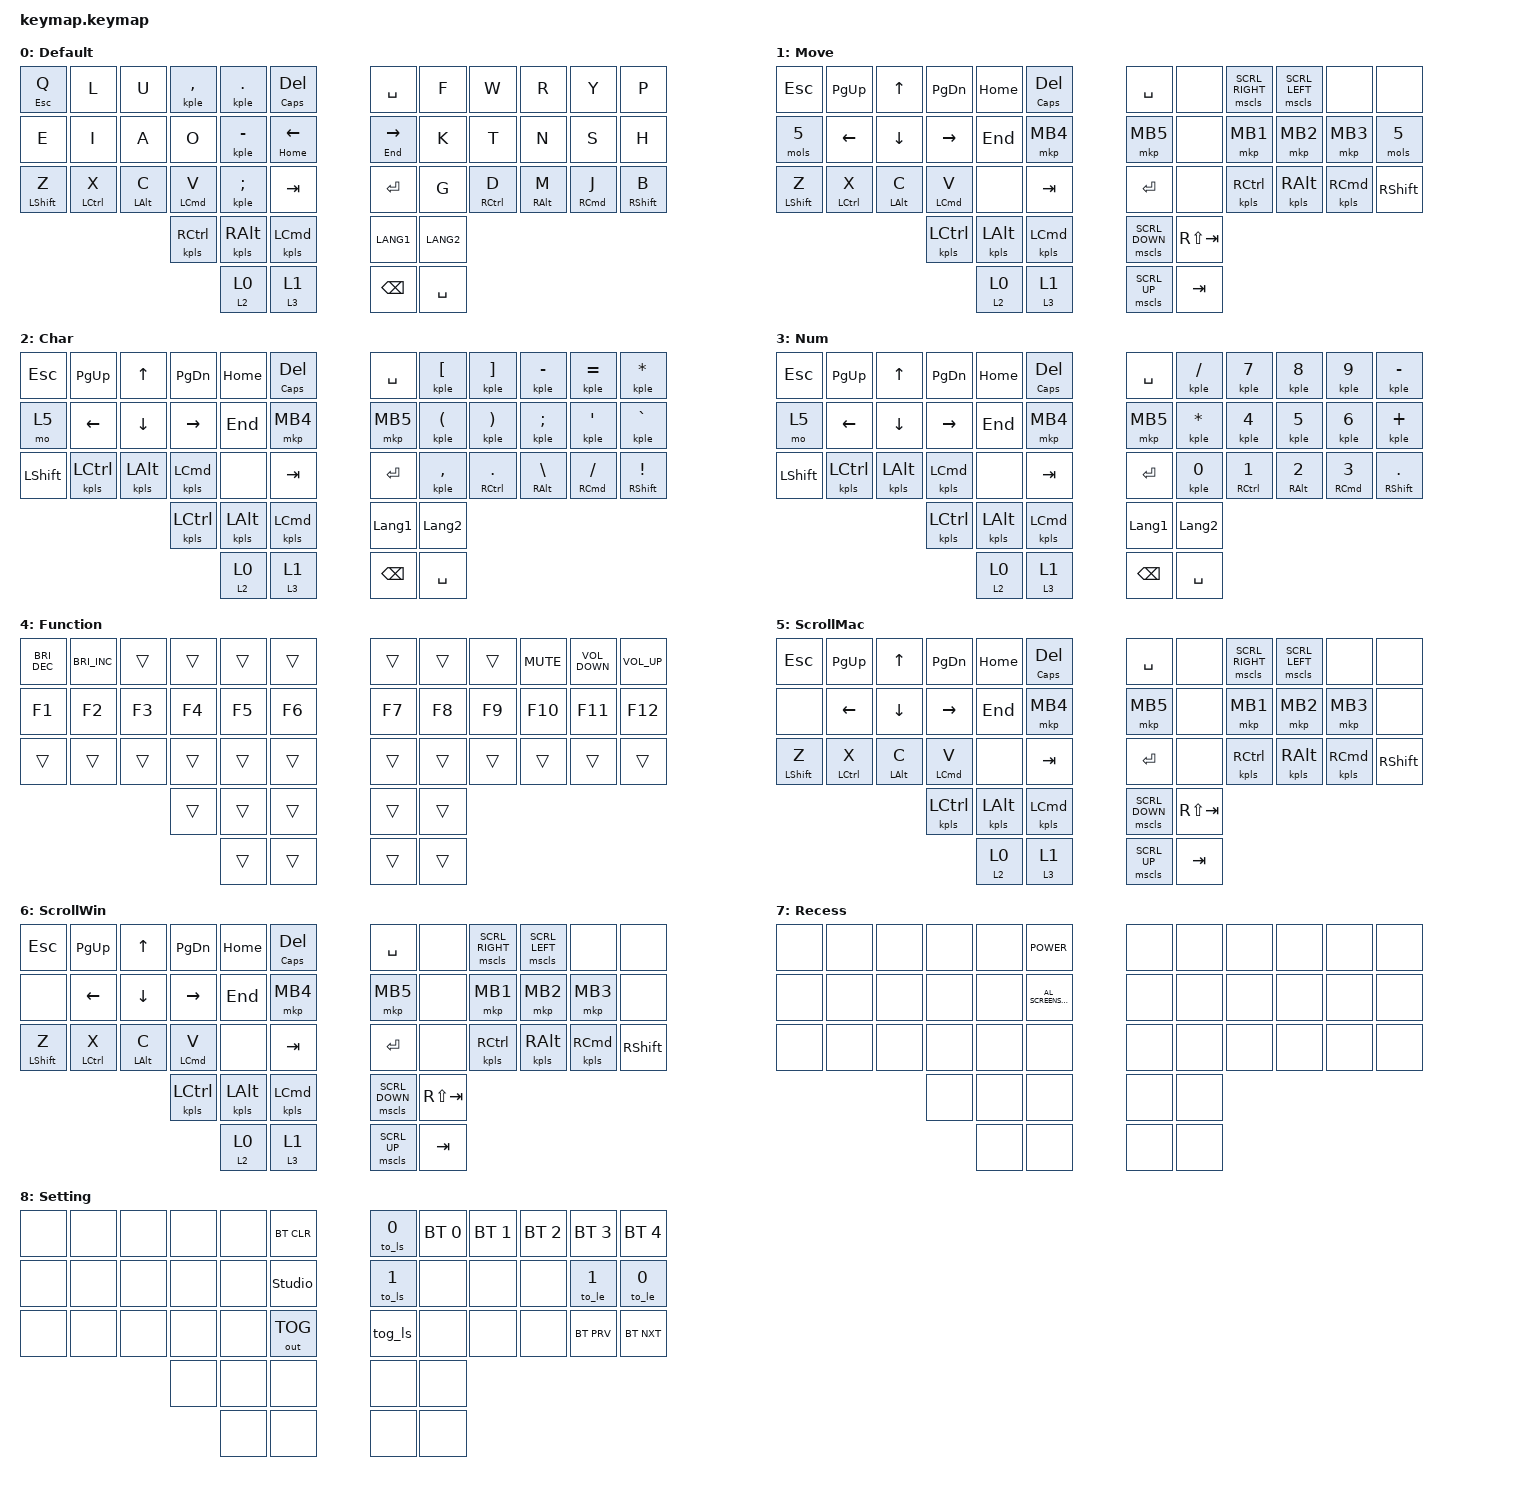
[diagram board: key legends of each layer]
#include <behaviors.dtsi>
#include <dt-bindings/zmk/bt.h>
#include <dt-bindings/zmk/keys.h>
#include <dt-bindings/zmk/outputs.h>
#include <dt-bindings/zmk/pointing.h>
#include "../dts/layout_shift.dtsi"
#include "../dts/layout_env.dtsi"

// ZMK用のキーマップ設定ファイル
// レイヤー構成（上から定義順 = レイヤー番号）:
// 0: Default     …… 通常のタイピング用
// 1: Move        …… カーソル移動・スクロール・マウス入力用
// 2: Char        …… 記号や括弧などの入力用
// 3: Num         …… 数字入力・テンキー配列
// 4: Function    …… ファンクションキー (F1〜F12)
// 5: ScrollMac   …… スクロール・トラックボール操作 (Mac用)
// 6: ScrollWin   …… スクロール・トラックボール操作 (Windows用)
// 7: Recess      …… すべてのレイヤーを無効化してデフォルトに戻す
// 8: Setting     …… Bluetooth選択/切替・出力切替・レイアウトシフト等の設定

/ {
    combos {
        compatible = "zmk,combos";
        combo-term-ms = <100>;

        // コンボ定義:
        // 特定のキーを同時押ししたときの動作を定義
        // 数字レイヤーをトグル
        // ファンクションレイヤーをトグル
        // Enterキー入力
        // Bluetooth設定レイヤーに一時移動

        moSettings {
            bindings = <&mo 8>;
            key-positions = <0 12 24>;
        };

        // すべてのレイヤーを無効化してデフォルトレイヤーに戻す

        moRecess {
            bindings = <&mo 7>;
            key-positions = <1 13 25>;
        };

        moFunction {
            bindings = <&mo 4>;
            key-positions = <42 44>;
        };
    };

    behaviors {
        multiMkp: multiMkp {
            compatible = "zmk,behavior-hold-tap";
            label = "MULTIMKP";
            bindings = <&mkp>, <&mkp>;

            #binding-cells = <2>;
            tapping-term-ms = <300>;
        };

        moto: moto {
            compatible = "zmk,behavior-hold-tap";
            label = "Hold mo Tap to";
            bindings = <&mo>, <&to>;

            #binding-cells = <2>;
            tapping-term-ms = <300>;
        };

        // mols_demo: placeholder for layout shift momentary layer behavior
        // mols_demo {
        //     bindings = <&mols 6>; // TODO: Replace 6 with base layer, shifted layer defined in layout
        // };
    };

    keymap {
        compatible = "zmk,keymap";

        // デフォルトレイヤー: 通常のタイピングに使用

        Default {
            bindings = <
&mt ESC Q     &kp L          &kp U         &kple COMMA     &kple PERIOD     &mt CAPSLOCK DELETE                 &kp SPACE            &kp F  &kp W          &kp R         &kp Y         &kp P
&kp E         &kp I          &kp A         &kp O         &kple MINUS      &mt HOME LEFT_ARROW                 &mt END RIGHT_ARROW  &kp K  &kp T          &kp N         &kp S         &kp H
&mt LSHIFT Z  &mtls LCTRL X  &mtls LALT C  &mtls LCMD V  &kple SEMICOLON  &kp TAB                             &kp ENTER            &kp G  &mtls RCTRL D  &mtls RALT M  &mtls RCMD J  &mt RSHIFT B
                                           &kpls RCTRL   &kpls RALT     &kpls LCMD                          &kp LANG1            &kp LANG2
                                                         &moto 2 0      &moto 3 1                           &kp BACKSPACE        &kp SPACE
            >;
        };

        Move {
            bindings = <
&kp ESCAPE        &kp PAGE_UP    &kp UP_ARROW    &kp PAGE_DOWN  &kp HOME    &mt CAPSLOCK DELETE                  &kp SPACE         &none  &mscls SCRL_RIGHT  &mscls SCRL_LEFT  &none       &none
&mols 5           &kp LEFT       &kp DOWN_ARROW  &kp RIGHT      &kp END     &mkp MB4                             &mkp MB5          &none  &mkp MB1           &mkp MB2          &mkp MB3    &mols 5
&mt LEFT_SHIFT Z  &mtls LCTRL X  &mtls LALT C    &mtls LCMD V   &none       &kp TAB                              &kp ENTER         &none  &kpls RCTRL        &kpls RALT        &kpls RCMD  &kp RSHIFT
                                                 &kpls LCTRL    &kpls LALT  &kpls LCMD                           &mscls SCRL_DOWN  &kp RS(TAB)
                                                                &moto 2 0   &moto 3 1                            &mscls SCRL_UP    &kp TAB
            >;
        };

        Char {
            bindings = <
&kp ESCAPE  &kp PAGE_UP  &kp UP_ARROW    &kp PAGE_DOWN  &kp HOME    &mt CAPSLOCK DELETE                  &kp SPACE       &kple LEFT_BRACKET      &kple RIGHT_BRACKET      &kple MINUS             &kple EQUAL         &kple ASTERISK
&mo 5       &kp LEFT     &kp DOWN_ARROW  &kp RIGHT      &kp END     &mkp MB4                             &mkp MB5        &kple LEFT_PARENTHESIS  &kple RIGHT_PARENTHESIS  &kple SEMICOLON         &kple SQT           &kple GRAVE
&kp LSHIFT  &kpls LCTRL  &kpls LALT      &kpls LCMD     &none       &kp TAB                              &kp ENTER       &kple COMMA             &mtlse RCTRL PERIOD     &mtlse RALT BACKSLASH  &mtlse RCMD SLASH  &mt RSHIFT EXCLAMATION
                                         &kpls LCTRL    &kpls LALT  &kpls LCMD                           &kp LANGUAGE_1  &kp LANGUAGE_2
                                                        &moto 2 0   &moto 3 1                            &kp BACKSPACE   &kp SPACE
            >;
        };

        Num {
            bindings = <
&kp ESC     &kp PAGE_UP     &kp UP_ARROW    &kp PAGE_DOWN    &kp HOME    &mtls CAPSLOCK DELETE                  &kp SPACE       &kple SLASH     &kple NUMBER_7          &kple NUMBER_8         &kple NUMBER_9         &kple MINUS
&mo 5       &kp LEFT_ARROW  &kp DOWN_ARROW  &kp RIGHT_ARROW  &kp END     &mkp MB4                               &mkp MB5        &kple ASTERISK  &kple NUMBER_4          &kple NUMBER_5         &kple NUMBER_6         &kple PLUS
&kp LSHIFT  &kpls LCTRL     &kpls LALT      &kpls LCMD       &none       &kp TAB                                &kp ENTER       &kple NUMBER_0  &mtlse RCTRL NUMBER_1  &mtlse RALT NUMBER_2  &mtlse RCMD NUMBER_3  &mt RSHIFT PERIOD
                                            &kpls LCTRL      &kpls LALT  &kpls LCMD                             &kp LANGUAGE_1  &kp LANGUAGE_2
                                                             &moto 2 0   &moto 3 1                              &kp BACKSPACE   &kp SPACE
            >;
        };

        Function {
            bindings = <
&kp C_BRIGHTNESS_DEC  &kp C_BRIGHTNESS_INC  &trans  &trans  &trans  &trans          &trans  &trans  &trans  &kp K_MUTE  &kp C_VOLUME_DOWN  &kp C_VOLUME_UP
&kp F1                &kp F2                &kp F3  &kp F4  &kp F5  &kp F6          &kp F7  &kp F8  &kp F9  &kp F10     &kp F11            &kp F12
&trans                &trans                &trans  &trans  &trans  &trans          &trans  &trans  &trans  &trans      &trans             &trans
                                                    &trans  &trans  &trans          &trans  &trans
                                                            &trans  &trans          &trans  &trans
            >;
        };

        ScrollMac {
            bindings = <
&kp ESCAPE        &kp PAGE_UP    &kp UP_ARROW    &kp PAGE_DOWN  &kp HOME    &mtls CAPSLOCK DELETE                  &kp SPACE    &none  &mscls SCRL_RIGHT  &mscls SCRL_LEFT  &none       &none
&none             &kp LEFT       &kp DOWN_ARROW  &kp RIGHT      &kp END     &mkp MB4                               &mkp MB5     &none  &mkp MB1         &mkp MB2        &mkp MB3    &none
&mt LEFT_SHIFT Z  &mtls LCTRL X  &mtls LALT C    &mtls LCMD V   &none       &kp TAB                                &kp ENTER    &none  &kpls RCTRL      &kpls RALT      &kpls RCMD  &kp RSHIFT
                                                 &kpls LCTRL    &kpls LALT  &kpls LCMD                             &mscls SCRL_DOWN  &kp RS(TAB)
                                                                &moto 2 0   &moto 3 1                              &mscls SCRL_UP    &kp TAB
            >;
        };

        ScrollWin {
            bindings = <
&kp ESCAPE        &kp PAGE_UP    &kp UP_ARROW    &kp PAGE_DOWN  &kp HOME    &mtls CAPSLOCK DELETE                  &kp SPACE    &none  &mscls SCRL_RIGHT  &mscls SCRL_LEFT  &none       &none
&none             &kp LEFT       &kp DOWN_ARROW  &kp RIGHT      &kp END     &mkp MB4                               &mkp MB5     &none  &mkp MB1         &mkp MB2        &mkp MB3    &none
&mt LEFT_SHIFT Z  &mtls LCTRL X  &mtls LALT C    &mtls LCMD V   &none       &kp TAB                                &kp ENTER    &none  &kpls RCTRL      &kpls RALT      &kpls RCMD  &kp RSHIFT
                                                 &kpls LCTRL    &kpls LALT  &kpls LCMD                             &mscls SCRL_DOWN  &kp RS(TAB)
                                                                &moto 2 0   &moto 3 1                              &mscls SCRL_UP    &kp TAB
            >;
        };

        Recess {
            bindings = <
&none  &none  &none  &none  &none  &kp C_POWER                  &none  &none  &none  &none  &none  &none
&none  &none  &none  &none  &none  &kp C_AL_SCREENSAVER         &none  &none  &none  &none  &none  &none
&none  &none  &none  &none  &none  &none                        &none  &none  &none  &none  &none  &none
                     &none  &none  &none                        &none  &none
                            &none  &none                        &none  &none
            >;
        };

        Setting {
            bindings = <
&none  &none  &none  &none  &none  &bt BT_CLR             &to_ls 0      &bt BT_SEL 0  &bt BT_SEL 1  &bt BT_SEL 2  &bt BT_SEL 3  &bt BT_SEL 4
&none  &none  &none  &none  &none  &studio_unlock         &to_ls 1      &none         &none         &none         &to_le 1      &to_le 0
&none  &none  &none  &none  &none  &out OUT_TOG           &tog_ls       &none         &none         &none         &bt BT_PRV    &bt BT_NXT
                     &none  &none  &none                  &none  &none
                            &none  &none                  &none  &none
            >;
        };
    };
};
